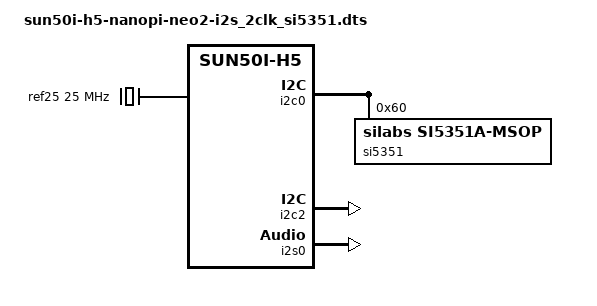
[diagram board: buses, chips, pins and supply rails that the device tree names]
/*
 * Copyright (C) 2016 ARM Ltd.
 *
 * This file is dual-licensed: you can use it either under the terms
 * of the GPL or the X11 license, at your option. Note that this dual
 * licensing only applies to this file, and not this project as a
 * whole.
 *
 *  a) This file is free software; you can redistribute it and/or
 *     modify it under the terms of the GNU General Public License as
 *     published by the Free Software Foundation; either version 2 of the
 *     License, or (at your option) any later version.
 *
 *     This file is distributed in the hope that it will be useful,
 *     but WITHOUT ANY WARRANTY; without even the implied warranty of
 *     MERCHANTABILITY or FITNESS FOR A PARTICULAR PURPOSE.  See the
 *     GNU General Public License for more details.
 *
 * Or, alternatively,
 *
 *  b) Permission is hereby granted, free of charge, to any person
 *     obtaining a copy of this software and associated documentation
 *     files (the "Software"), to deal in the Software without
 *     restriction, including without limitation the rights to use,
 *     copy, modify, merge, publish, distribute, sublicense, and/or
 *     sell copies of the Software, and to permit persons to whom the
 *     Software is furnished to do so, subject to the following
 *     conditions:
 *
 *     The above copyright notice and this permission notice shall be
 *     included in all copies or substantial portions of the Software.
 *
 *     THE SOFTWARE IS PROVIDED "AS IS", WITHOUT WARRANTY OF ANY KIND,
 *     EXPRESS OR IMPLIED, INCLUDING BUT NOT LIMITED TO THE WARRANTIES
 *     OF MERCHANTABILITY, FITNESS FOR A PARTICULAR PURPOSE AND
 *     NONINFRINGEMENT. IN NO EVENT SHALL THE AUTHORS OR COPYRIGHT
 *     HOLDERS BE LIABLE FOR ANY CLAIM, DAMAGES OR OTHER LIABILITY,
 *     WHETHER IN AN ACTION OF CONTRACT, TORT OR OTHERWISE, ARISING
 *     FROM, OUT OF OR IN CONNECTION WITH THE SOFTWARE OR THE USE OR
 *     OTHER DEALINGS IN THE SOFTWARE.
 */

/dts-v1/;
#include "sun50i-h5-nanopi-neo2.dts"

/ {
	pcm5102a: pcm5102a-codec {
		status = "okay";
	};

	sound {
		compatible = "i2smfdl,multi-function-dai-link";
		i2s-controller = <&i2s0>;
		i2s-codec = <&pcm5102a>;
		status = "okay";

		clk_mode = "EXT_3CLK";
		clocks = <&si5351 1>, <&si5351 2>;
		clock-names = "bclk", "lrclk";

		daifmt_master_override = "CBM_CFM";
	};

	clocks {
		/* 25MHz reference crystal */
		ref25: oscillator {
			compatible = "fixed-clock";
			#clock-cells = <0>;
			clock-frequency = <25000000>;
		};
	};
};

&codec {
	status = "disabled";
};

&pio {
	spi0_cs_pins: spi0_cs_pins {
		pins = "PC3";
	};

	/* PA6 for MCLK out */
	i2s0_pins: i2s0 {
		pins = "PA18", "PA19", "PA20", "PA21";
	};
};

&i2c0 {
	status = "okay";

	si5351: clock-generator {
		compatible = "silabs,si5351a-msop";
		reg = <0x60>;
		#address-cells = <1>;
		#size-cells = <0>;
		#clock-cells = <1>;

		/* connect xtal input to 25MHz reference */
		clocks = <&ref25>;
		clock-names = "xtal";
		xtal_cl = <8>; // XTAL_CL = 8pF

		/* connect xtal input as source of pll0 and pll1 */
		silabs,pll-source = <0 0>, <1 0>;

		clkout0 {
			reg = <0>;
			silabs,drive-strength = <8>;
			silabs,multisynth-source = <0>;
			silabs,clock-source = <0>;
			silabs,pll-master;
			silabs,disable-state = <2>;
		};

		clkout1 {
			reg = <1>;
			silabs,drive-strength = <8>;
			silabs,multisynth-source = <0>;
			silabs,clock-source = <0>;
			silabs,disable-state = <2>;
		};

		clkout2 {
			reg = <2>;
			silabs,drive-strength = <8>;
			silabs,multisynth-source = <0>;
			silabs,clock-source = <0>;
			silabs,disable-state = <2>;
		};
	};
};

&i2c1 {
	/* no I2C1 for I2S0 */
	status = "disabled";
};

&i2c2 {
	status = "okay";
};

&spi0 {
	cs-gpios = <&pio 2 3 GPIO_ACTIVE_HIGH>;
	pitft: pitft@0{
		/* PG11 disable */
		status = "disabled";
	};

	pitft_ts: pitft-ts@1 {
		status = "disabled";
	};
};

&i2s0 {
	status = "okay";
	clk_always_on = <1>;
};


